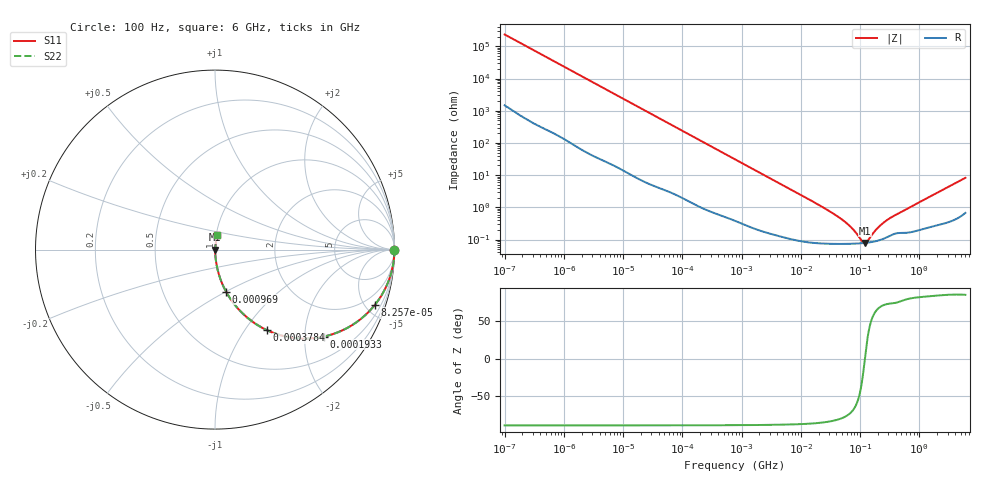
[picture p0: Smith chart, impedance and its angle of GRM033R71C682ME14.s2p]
!Murata Part Number: GRM033R71C682ME14
!These Parameters are Measured in Series Mode Connection
!Data Generated on Mar 30, 2021
!  o--ll--o
!Port1  Port2
!  o------o
!Operation Temp=25[degC], DC Bias Voltage=0[V]
!Freq. Start=100[Hz] Stop=6[GHz] 401[Steps]
# Hz S RI R 50
!Freq.(Hz) S11(Real) S11(Imag) S21(Real) S21(Imag) S12(Real) S12(Imag) S22(Real) S22(Imag)
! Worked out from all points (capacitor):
!   401 points, 100 Hz to 6 GHz, reference 50 ohm
!   read as one part in series: C = 6.82 nF near 109 Hz
!   lowest |Z| = 78.9 mohm at 122 MHz (marker M1)
!   series resonance near 120.8 MHz, so ESL is about 250 pH
!   S11 on the Smith chart (normalised r, x): 100 Hz: open; 82.57 kHz: 1.05, -5.78; 193.3 kHz: 1.02, -2.48; 378.4 kHz: 1.01, -1.27; 969 kHz: 1.01, -0.50; 6 GHz: 1.01, +0.16
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100  1 -0.00043  2.9e-06 0.00043  2.9e-06 0.00043  1 -0.00043
2008  0.9999 -0.00853  0.000117 0.00853  0.000117 0.00853  0.9999 -0.00853
12592  0.9969 -0.053  0.00313 0.053  0.00313 0.053  0.9969 -0.053
40335  0.971 -0.1646  0.029 0.1646  0.029 0.1646  0.971 -0.1646
82567  0.8911 -0.3075  0.1089 0.3075  0.1089 0.3075  0.8911 -0.3075
123542  0.7874 -0.4051  0.2126 0.4051  0.2126 0.4051  0.7874 -0.4051
193316  0.6049 -0.4847  0.3951 0.4847  0.3951 0.4847  0.6049 -0.4847
264476  0.4519 -0.4933  0.5481 0.4933  0.5481 0.4933  0.4519 -0.4933
378399  0.2893 -0.4486  0.7107 0.4486  0.7107 0.4486  0.2893 -0.4486
774597  0.0914 -0.2821  0.9086 0.2821  0.9086 0.2821  0.0914 -0.2821
968953  0.0613 -0.2335  0.9387 0.2335  0.9387 0.2335  0.0613 -0.2335
2967816  0.00819 -0.0813  0.9918 0.0813  0.9918 0.0813  0.00819 -0.0813
1.555665e7  0.00104 -0.0155  0.999 0.0155  0.999 0.0155  0.00104 -0.0155
5.211241e7  0.000748 -0.00384  0.9993 0.00384  0.9993 0.00384  0.000748 -0.00384
7.455971e7  0.000747 -0.00204  0.9993 0.00204  0.9993 0.00204  0.000747 -0.00204
1.066761e8  0.00077 -0.000506  0.9992 0.000506  0.9992 0.000506  0.00077 -0.000506
1.220122e8  0.000787 4.29e-05  0.9992 -4.29e-05  0.9992 -4.29e-05  0.000787 4.29e-05
1.334425e8  0.000802 0.000408  0.9992 -0.000408  0.9992 -0.000408  0.000802 0.000408
2.088084e8  0.000951 0.00233  0.999 -0.00233  0.999 -0.00233  0.000951 0.00233
3.124326e8  0.0013 0.00432  0.9987 -0.00432  0.9987 -0.00432  0.0013 0.00432
1.873145e9  0.00335 0.0261  0.9966 -0.0261  0.9966 -0.0261  0.00335 0.0261
6e9  0.0133 0.0807  0.9867 -0.0807  0.9867 -0.0807  0.0133 0.0807
